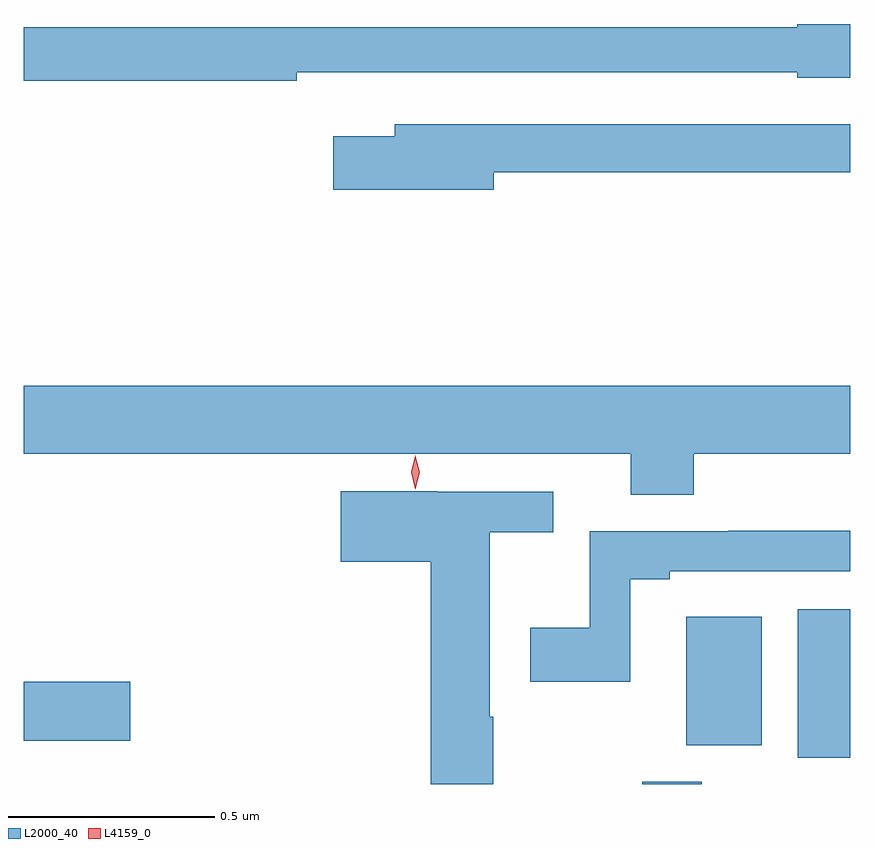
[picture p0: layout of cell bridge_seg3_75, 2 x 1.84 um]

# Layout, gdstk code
import gdstk
lib = gdstk.Library(unit=1e-6, precision=1e-09)
def R(c, l, rs):  # rectangles x0, y0, x1, y1
    for r in rs: c.add(gdstk.rectangle(r[:2], r[2:], *l))
def P(c, l, *ps):  # polygons
    for p in ps: c.add(gdstk.Polygon(p, *l))
L2000_40 = (2000, 40)
L4159_0 = (4159, 0)

bridge_seg3_75 = lib.new_cell('bridge_seg3_75')
R(bridge_seg3_75, L2000_40, [(462.675,672.145,462.819,672.151), (463.052,672.208,463.179,672.568), (462.782,672.239,462.964,672.55), (461.179,672.25,461.437,672.392)])
P(bridge_seg3_75, L2000_40, [(461.84,673.866),(463.05,673.866),(463.05,673.853),(463.179,673.853),(463.179,673.983),(463.05,673.983),(463.05,673.975),(461.179,673.975),(461.179,673.846),(461.84,673.846)],
  [(462.316,673.624),(463.179,673.624),(463.179,673.74),(462.077,673.74),(462.077,673.711),(461.928,673.711),(461.928,673.582),(462.316,673.582)],
  [(462.8,672.944),(463.179,672.944),(463.179,673.108),(461.179,673.108),(461.179,672.944),(462.647,672.944),(462.647,672.845),(462.8,672.845)],
  [(462.315,672.308),(462.307,672.308),(462.307,672.754),(462.46,672.754),(462.46,672.852),(462.18,672.852),(462.18,672.853),(461.946,672.853),(461.946,672.683),(462.164,672.683),(462.164,672.145),(462.315,672.145)],
  [(462.646,672.64),(462.742,672.64),(462.742,672.66),(463.179,672.66),(463.179,672.758),(462.883,672.758),(462.883,672.756),(462.549,672.756),(462.549,672.523),(462.405,672.523),(462.405,672.392),(462.646,672.392)])
P(bridge_seg3_75, L4159_0, [(462.127,672.858),(462.127,672.858),(462.117,672.899),(462.127,672.939),(462.127,672.94),(462.127,672.939),(462.137,672.899),(462.127,672.858)])

lib.write_gds('bridge_seg3_75.gds')
